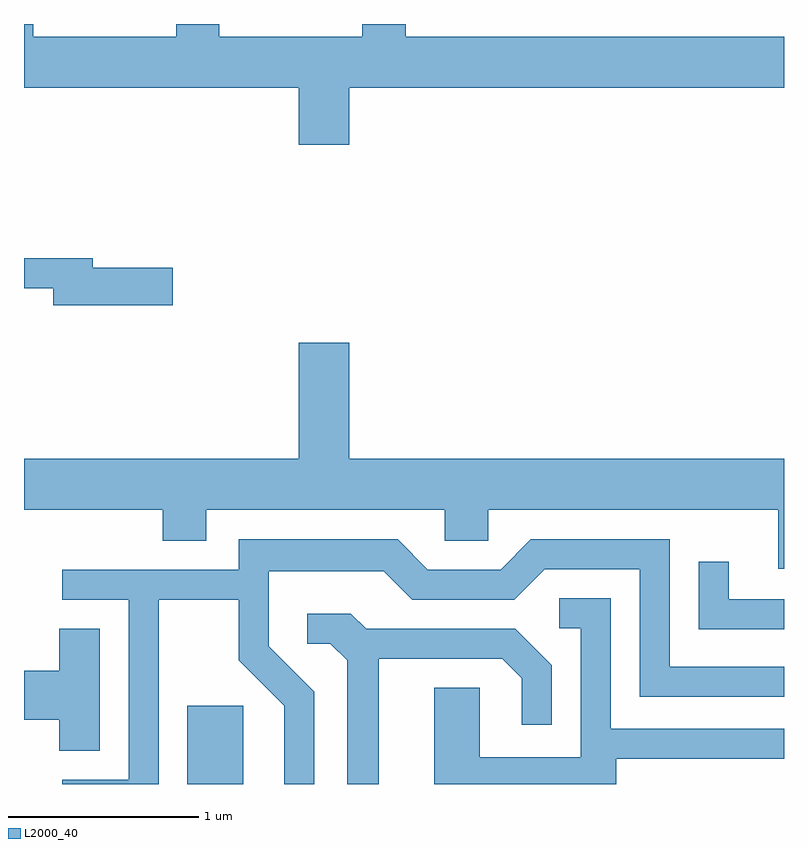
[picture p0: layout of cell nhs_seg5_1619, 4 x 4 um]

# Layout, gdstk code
import gdstk
lib = gdstk.Library(unit=1e-6, precision=1e-09)
def R(c, l, rs):  # rectangles x0, y0, x1, y1
    for r in rs: c.add(gdstk.rectangle(r[:2], r[2:], *l))
def P(c, l, *ps):  # polygons
    for p in ps: c.add(gdstk.Polygon(p, *l))
L2000_40 = (2000, 40)

nhs_seg5_1619 = lib.new_cell('nhs_seg5_1619')
R(nhs_seg5_1619, L2000_40, [(234.471,1402.072,234.764,1402.484)])
P(nhs_seg5_1619, L2000_40, [(235.324,1405.736),(237.611,1405.736),(237.611,1406.004),(235.619,1406.004),(235.619,1406.072),(235.391,1406.072),(235.391,1406.004),(234.639,1406.004),(234.639,1406.072),(234.411,1406.072),(234.411,1406.004),(233.659,1406.004),(233.659,1406.072),(233.611,1406.072),(233.611,1405.736),(235.056,1405.736),(235.056,1405.436),(235.324,1405.436)],
  [(234.394,1404.789),(233.974,1404.789),(233.974,1404.839),(233.611,1404.839),(233.611,1404.681),(233.766,1404.681),(233.766,1404.591),(234.394,1404.591)],
  [(237.611,1403.784),(235.324,1403.784),(235.324,1404.394),(235.056,1404.394),(235.056,1403.784),(233.611,1403.784),(233.611,1403.516),(234.341,1403.516),(234.341,1403.351),(234.569,1403.351),(234.569,1403.516),(235.826,1403.516),(235.826,1403.351),(236.054,1403.351),(236.054,1403.516),(237.581,1403.516),(237.581,1403.206),(237.611,1403.206)],
  [(234.319,1403.041),(234.741,1403.041),(234.741,1402.724),(234.981,1402.484),(234.981,1402.072),(235.139,1402.072),(235.139,1402.557),(234.899,1402.797),(234.899,1403.191),(235.504,1403.191),(235.654,1403.041),(236.192,1403.041),(236.352,1403.201),(236.851,1403.201),(236.851,1402.531),(237.611,1402.531),(237.611,1402.689),(237.009,1402.689),(237.009,1403.359),(236.279,1403.359),(236.119,1403.199),(235.737,1403.199),(235.577,1403.359),(234.741,1403.359),(234.741,1403.199),(233.813,1403.199),(233.813,1403.041),(234.161,1403.041),(234.161,1402.094),(233.813,1402.094),(233.813,1402.072),(234.319,1402.072)],
  [(237.611,1403.044),(237.319,1403.044),(237.319,1403.243),(237.161,1403.243),(237.161,1402.886),(237.611,1402.886)],
  [(236.729,1402.206),(237.611,1402.206),(237.611,1402.364),(236.699,1402.364),(236.699,1403.049),(236.428,1403.049),(236.428,1402.891),(236.541,1402.891),(236.541,1402.214),(236.009,1402.214),(236.009,1402.579),(235.771,1402.579),(235.771,1402.072),(236.729,1402.072)],
  [(235.479,1402.731),(236.129,1402.731),(236.231,1402.629),(236.231,1402.383),(236.389,1402.383),(236.389,1402.697),(236.197,1402.889),(235.412,1402.889),(235.332,1402.969),(235.103,1402.969),(235.103,1402.811),(235.224,1402.811),(235.311,1402.724),(235.311,1402.072),(235.479,1402.072)],
  [(234.009,1402.889),(233.796,1402.889),(233.796,1402.669),(233.611,1402.669),(233.611,1402.411),(233.796,1402.411),(233.796,1402.246),(234.009,1402.246)])

lib.write_gds('nhs_seg5_1619.gds')
